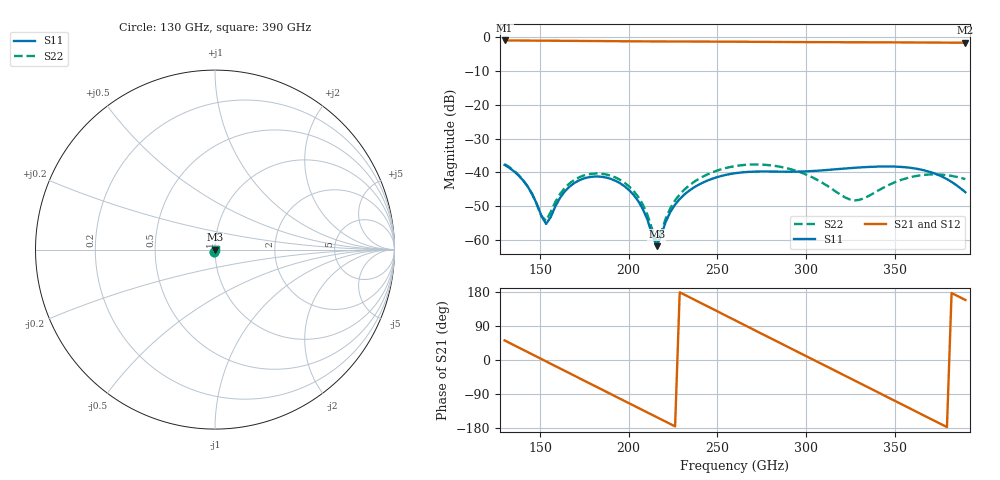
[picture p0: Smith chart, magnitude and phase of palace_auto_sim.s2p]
#  GHZ S DB R 50
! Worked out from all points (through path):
!   101 points, 130 GHz to 390 GHz, reference 50 ohm
!   highest |S21| = -1.00 dB at 130 GHz (marker M1); lowest = -1.7 dB at 390 GHz (marker M2)
!   group delay of S21, straight-line fit = 6.55 ps
!   lowest |S11| = -61.8 dB at 215.8 GHz (marker M3), VSWR 1.00, Z = 50 - j0.0811 ohm
!   |S11| at or under -10 dB: start of sweep to end of sweep
!   |S22| runs from -60.6 to -37.5 dB; largest |S21 - S12| = 9.8e-14
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130  -37.78 -104.3  -1.00 51.7  -1.00 51.7  -37.54 -104.6
143  -44.15 -128.6  -1.04 20.9  -1.04 20.9  -44.13 -127.6
153.4  -55.22 -83.0  -1.07 -3.6  -1.07 -3.6  -54.24 -72.9
163.8  -45.71 -38.4  -1.11 -28.2  -1.11 -28.2  -44.67 -38.3
174.2  -41.87 -58.5  -1.14 -52.8  -1.14 -52.8  -40.99 -58.5
187.2  -41.50 -91.1  -1.20 -83.5  -1.20 -83.5  -40.58 -90.7
200.2  -45.20 -123.8  -1.25 -114.1  -1.25 -114.1  -44.12 -122.7
208  -50.82 -137.5  -1.27 -132.4  -1.27 -132.4  -49.51 -136.1
215.8  -61.79 -84.8  -1.29 -150.7  -1.29 -150.7  -60.55 -88.1
218.4  -58.47 -44.6  -1.30 -156.9  -1.30 -156.9  -57.64 -44.6
223.6  -51.61 -32.8  -1.31 -169.1  -1.31 -169.1  -50.47 -30.0
231.4  -46.54 -44.0  -1.31 172.5  -1.31 172.5  -45.09 -40.1
244.4  -42.42 -74.4  -1.33 141.8  -1.33 141.8  -40.60 -68.6
260  -40.24 -121.3  -1.37 104.9  -1.37 104.9  -38.13 -111.1
280.8  -39.74 159.5  -1.43 55.8  -1.43 55.8  -37.94 -178.0
293.8  -39.77 101.4  -1.47 25.1  -1.47 25.1  -39.41 134.8
304.2  -39.57 52.9  -1.50 0.7  -1.50 0.7  -41.59 92.6
314.6  -39.16 5.1  -1.52 -23.8  -1.52 -23.8  -44.84 42.2
327.6  -38.62 -50.9  -1.53 -54.4  -1.53 -54.4  -48.24 -47.3
348.4  -38.25 -131.5  -1.57 -103.5  -1.57 -103.5  -43.31 -169.9
371.8  -40.15 142.9  -1.62 -158.7  -1.62 -158.7  -40.58 101.2
390  -45.84 58.4  -1.66 158.4  -1.66 158.4  -41.97 28.4
